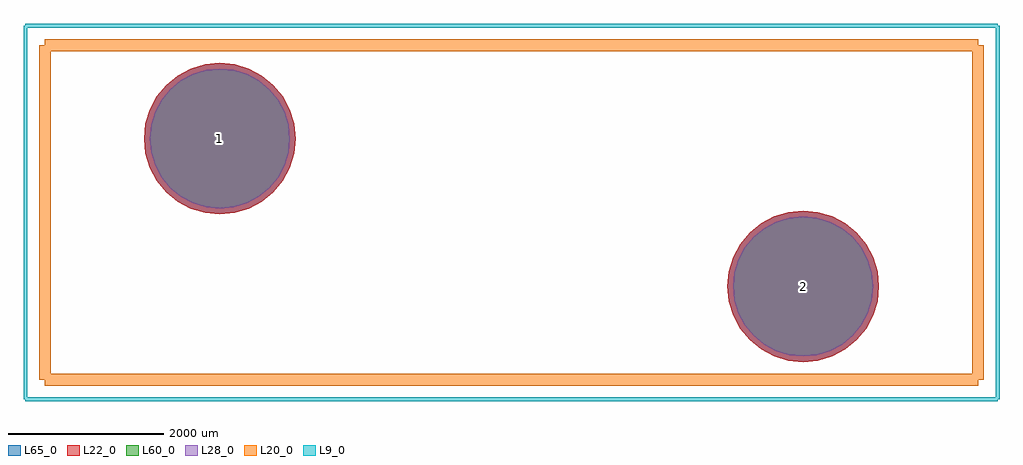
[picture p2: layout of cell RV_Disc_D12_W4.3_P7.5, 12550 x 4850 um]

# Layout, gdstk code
import gdstk
lib = gdstk.Library(unit=1e-6, precision=1e-09)
def P(c, l, *ps):  # polygons
    for p in ps: c.add(gdstk.Polygon(p, *l))
L9_0 = (9, 0)
L20_0 = (20, 0)
L22_0 = (22, 0)
L28_0 = (28, 0)
L60_0 = (60, 0)
L65_0 = (65, 0)

rv_disc_d12_w4_3_p7_5 = lib.new_cell('RV_Disc_D12_W4.3_P7.5')
P(rv_disc_d12_w4_3_p7_5, L22_0, [(8475,-1900),(8456.266,-1709.787),(8400.783,-1526.884),(8310.683,-1358.319),(8189.429,-1210.571),(8041.681,-1089.317),(7873.116,-999.217),(7690.213,-943.734),(7500,-925),(7309.787,-943.734),(7126.884,-999.217),(6958.319,-1089.317),(6810.571,-1210.571),(6689.317,-1358.319),(6599.217,-1526.884),(6543.734,-1709.787),(6525,-1900),(6543.734,-2090.213),(6599.217,-2273.116),(6689.317,-2441.681),(6810.571,-2589.429),(6958.319,-2710.683),(7126.884,-2800.783),(7309.787,-2856.266),(7500,-2875),(7690.213,-2856.266),(7873.116,-2800.783),(8041.681,-2710.683),(8189.429,-2589.429),(8310.683,-2441.681),(8400.783,-2273.116),(8456.266,-2090.213)],
  [(975,0),(956.266,190.213),(900.783,373.116),(810.683,541.681),(689.429,689.429),(541.681,810.683),(373.116,900.783),(190.213,956.266),(0,975),(-190.213,956.266),(-373.116,900.783),(-541.681,810.683),(-689.429,689.429),(-810.683,541.681),(-900.783,373.116),(-956.266,190.213),(-975,0),(-956.266,-190.213),(-900.783,-373.116),(-810.683,-541.681),(-689.429,-689.429),(-541.681,-810.683),(-373.116,-900.783),(-190.213,-956.266),(0,-975),(190.213,-956.266),(373.116,-900.783),(541.681,-810.683),(689.429,-689.429),(810.683,-541.681),(900.783,-373.116),(956.266,-190.213)])
P(rv_disc_d12_w4_3_p7_5, L28_0, [(8400,-1900),(8382.707,-1724.419),(8331.492,-1555.585),(8248.323,-1399.987),(8136.396,-1263.604),(8000.013,-1151.677),(7844.415,-1068.508),(7675.581,-1017.293),(7500,-1000),(7324.419,-1017.293),(7155.585,-1068.508),(6999.987,-1151.677),(6863.604,-1263.604),(6751.677,-1399.987),(6668.508,-1555.585),(6617.293,-1724.419),(6600,-1900),(6617.293,-2075.581),(6668.508,-2244.415),(6751.677,-2400.013),(6863.604,-2536.396),(6999.987,-2648.323),(7155.585,-2731.492),(7324.419,-2782.707),(7500,-2800),(7675.581,-2782.707),(7844.415,-2731.492),(8000.013,-2648.323),(8136.396,-2536.396),(8248.323,-2400.013),(8331.492,-2244.415),(8382.707,-2075.581)],
  [(900,0),(882.707,175.581),(831.492,344.415),(748.323,500.013),(636.396,636.396),(500.013,748.323),(344.415,831.492),(175.581,882.707),(0,900),(-175.581,882.707),(-344.415,831.492),(-500.013,748.323),(-636.396,636.396),(-748.323,500.013),(-831.492,344.415),(-882.707,175.581),(-900,0),(-882.707,-175.581),(-831.492,-344.415),(-748.323,-500.013),(-636.396,-636.396),(-500.013,-748.323),(-344.415,-831.492),(-175.581,-882.707),(0,-900),(175.581,-882.707),(344.415,-831.492),(500.013,-748.323),(636.396,-636.396),(748.323,-500.013),(831.492,-344.415),(882.707,-175.581)])
P(rv_disc_d12_w4_3_p7_5, L60_0, [(8400,-1900),(8382.707,-1724.419),(8331.492,-1555.585),(8248.323,-1399.987),(8136.396,-1263.604),(8000.013,-1151.677),(7844.415,-1068.508),(7675.581,-1017.293),(7500,-1000),(7324.419,-1017.293),(7155.585,-1068.508),(6999.987,-1151.677),(6863.604,-1263.604),(6751.677,-1399.987),(6668.508,-1555.585),(6617.293,-1724.419),(6600,-1900),(6617.293,-2075.581),(6668.508,-2244.415),(6751.677,-2400.013),(6863.604,-2536.396),(6999.987,-2648.323),(7155.585,-2731.492),(7324.419,-2782.707),(7500,-2800),(7675.581,-2782.707),(7844.415,-2731.492),(8000.013,-2648.323),(8136.396,-2536.396),(8248.323,-2400.013),(8331.492,-2244.415),(8382.707,-2075.581)],
  [(900,0),(882.707,175.581),(831.492,344.415),(748.323,500.013),(636.396,636.396),(500.013,748.323),(344.415,831.492),(175.581,882.707),(0,900),(-175.581,882.707),(-344.415,831.492),(-500.013,748.323),(-636.396,636.396),(-748.323,500.013),(-831.492,344.415),(-882.707,175.581),(-900,0),(-882.707,-175.581),(-831.492,-344.415),(-748.323,-500.013),(-636.396,-636.396),(-500.013,-748.323),(-344.415,-831.492),(-175.581,-882.707),(0,-900),(175.581,-882.707),(344.415,-831.492),(500.013,-748.323),(636.396,-636.396),(748.323,-500.013),(831.492,-344.415),(882.707,-175.581)])
P(rv_disc_d12_w4_3_p7_5, L65_0, [(8475,-1900),(8456.266,-1709.787),(8400.783,-1526.884),(8310.683,-1358.319),(8189.429,-1210.571),(8041.681,-1089.317),(7873.116,-999.217),(7690.213,-943.734),(7500,-925),(7309.787,-943.734),(7126.884,-999.217),(6958.319,-1089.317),(6810.571,-1210.571),(6689.317,-1358.319),(6599.217,-1526.884),(6543.734,-1709.787),(6525,-1900),(6543.734,-2090.213),(6599.217,-2273.116),(6689.317,-2441.681),(6810.571,-2589.429),(6958.319,-2710.683),(7126.884,-2800.783),(7309.787,-2856.266),(7500,-2875),(7690.213,-2856.266),(7873.116,-2800.783),(8041.681,-2710.683),(8189.429,-2589.429),(8310.683,-2441.681),(8400.783,-2273.116),(8456.266,-2090.213)],
  [(975,0),(956.266,190.213),(900.783,373.116),(810.683,541.681),(689.429,689.429),(541.681,810.683),(373.116,900.783),(190.213,956.266),(0,975),(-190.213,956.266),(-373.116,900.783),(-541.681,810.683),(-689.429,689.429),(-810.683,541.681),(-900.783,373.116),(-956.266,190.213),(-975,0),(-956.266,-190.213),(-900.783,-373.116),(-810.683,-541.681),(-689.429,-689.429),(-541.681,-810.683),(-373.116,-900.783),(-190.213,-956.266),(0,-975),(190.213,-956.266),(373.116,-900.783),(541.681,-810.683),(689.429,-689.429),(810.683,-541.681),(900.783,-373.116),(956.266,-190.213)])
rv_disc_d12_w4_3_p7_5.add(gdstk.FlexPath([(-2250,1200),(-2250,-3100)], 149.998, ends="flush", simple_path=True, layer=20, datatype=0))  # L20_0
rv_disc_d12_w4_3_p7_5.add(gdstk.FlexPath([(9750,1200),(9750,-3100)], 149.998, ends="flush", simple_path=True, layer=20, datatype=0))  # L20_0
rv_disc_d12_w4_3_p7_5.add(gdstk.FlexPath([(-2250,1200),(9750,1200)], 149.998, ends="flush", simple_path=True, layer=20, datatype=0))  # L20_0
rv_disc_d12_w4_3_p7_5.add(gdstk.FlexPath([(-2250,-3100),(9750,-3100)], 149.998, ends="flush", simple_path=True, layer=20, datatype=0))  # L20_0
rv_disc_d12_w4_3_p7_5.add(gdstk.FlexPath([(-2500,1450),(-2500,-3350)], 50, ends="flush", simple_path=True, layer=9, datatype=0))  # L9_0
rv_disc_d12_w4_3_p7_5.add(gdstk.FlexPath([(10000,1450),(10000,-3350)], 50, ends="flush", simple_path=True, layer=9, datatype=0))  # L9_0
rv_disc_d12_w4_3_p7_5.add(gdstk.FlexPath([(-2500,1450),(10000,1450)], 50, ends="flush", simple_path=True, layer=9, datatype=0))  # L9_0
rv_disc_d12_w4_3_p7_5.add(gdstk.FlexPath([(-2500,-3350),(10000,-3350)], 50, ends="flush", simple_path=True, layer=9, datatype=0))  # L9_0
rv_disc_d12_w4_3_p7_5.add(gdstk.Label('2', (7500,-1900), layer=28, texttype=0))
rv_disc_d12_w4_3_p7_5.add(gdstk.Label('1', (0,0), layer=28, texttype=0))
rv_disc_d12_w4_3_p7_5.add(gdstk.Label('type', (3750,2200), layer=9, texttype=0))
rv_disc_d12_w4_3_p7_5.add(gdstk.Label('devicename', (3750,-4100), layer=9, texttype=0))

lib.write_gds('RV_Disc_D12_W4.3_P7.5.gds')
